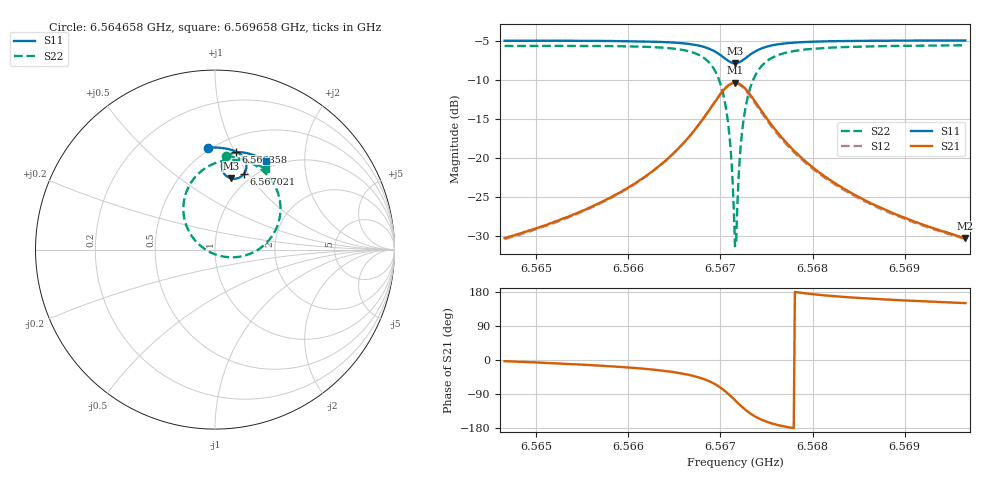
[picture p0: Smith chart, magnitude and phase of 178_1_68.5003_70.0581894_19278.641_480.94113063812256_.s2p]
#  HZ  S  RI  R  50.00
! Rohde & Schwarz Vector Network Analyzer
! Rohde-Schwarz,ZNB20-2Port,1311601062101988,3.16
! Created: UTC 3/20/2024, 5:11:43 PM
! freq[Hz]  re:S11  im:S11  re:S21  im:S21  re:S12  im:S12  re:S22  im:S22
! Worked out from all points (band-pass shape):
!   401 points, 6.564658 GHz to 6.569658 GHz, reference 50 ohm
!   highest |S21| = -10.32 dB at 6.567158 GHz (marker M1); lowest = -30.3 dB at 6.569658 GHz (marker M2)
!   |S21| within 3 dB of the highest: 6.56691 GHz to 6.56741 GHz (499.9 kHz wide, 0.00761 % of centre)
!   lowest |S11| = -7.8 dB at 6.567158 GHz (marker M3), VSWR 2.37, Z = 42.5 + j40.3 ohm
!   |S11| at or under -10 dB: nowhere
!   |S22| runs from -31.4 to -5.5 dB; largest |S21 - S12| = 0.015
!   S11 on the Smith chart (normalised r, x): 6.564658 GHz: 0.48, +0.81; 6.566358 GHz: 0.64, +1.01; 6.567021 GHz: 0.90, +0.95; 6.569658 GHz: 0.89, +1.31
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6.5646584e9  -0.0396 0.5676  0.0304 -0.00161  0.03 -0.00213  0.0617 0.5225
6.5654959e9  0.0303 0.5669  0.0443 -0.00966  0.0438 -0.0102  0.1446 0.5059
6.5663334e9  0.1118 0.5478  0.0788 -0.0403  0.0777 -0.0412  0.2647 0.4416
6.5663584e9  0.1147 0.5465  0.0806 -0.0423  0.0794 -0.0433  0.2697 0.4373
6.5666209e9  0.1469 0.5253  0.1024 -0.078  0.1006 -0.0795  0.3273 0.3672
6.5668209e9  0.1706 0.49  0.1156 -0.1397  0.1129 -0.1427  0.3643 0.2481
6.5669334e9  0.1744 0.4549  0.1038 -0.2011  0.0985 -0.2052  0.347 0.1309
6.5670209e9  0.1601 0.4208  0.0624 -0.2594  0.0531 -0.2629  0.2705 0.0221
6.5670584e9  0.1464 0.4077  0.0307 -0.2809  0.0195 -0.283  0.2117 -0.0163
6.5670959e9  0.1282 0.3981  -0.0092 -0.2954  -0.022 -0.2949  0.138 -0.0396
6.5671209e9  0.114 0.3949  -0.039 -0.2989  -0.0525 -0.296  0.0838 -0.0429
6.5671459e9  0.099 0.395  -0.07 -0.2964  -0.0835 -0.291  0.0287 -0.0352
6.5671584e9  0.0915 0.3962  -0.0851 -0.2928  -0.0984 -0.2863  0.00177 -0.0269
6.5671834e9  0.0774 0.4011  -0.1143 -0.2812  -0.1264 -0.2724  -0.0483 -0.00264
6.5672209e9  0.0592 0.4137  -0.1513 -0.2547  -0.1608 -0.2432  -0.1096 0.0494
6.5672584e9  0.0466 0.4303  -0.1776 -0.2211  -0.1839 -0.2085  -0.1504 0.1121
6.5673084e9  0.039 0.4542  -0.1958 -0.1743  -0.1982 -0.1619  -0.1746 0.1964
6.5673709e9  0.0406 0.4809  -0.1981 -0.1226  -0.1973 -0.1121  -0.1697 0.2866
6.5675959e9  0.08 0.5299  -0.1496 -0.0264  -0.146 -0.0219  -0.063 0.4477
6.5679959e9  0.1409 0.5422  -0.087 0.00945  -0.0848 0.011  0.0746 0.4987
6.5688334e9  0.2225 0.5237  -0.0422 0.016  -0.0411 0.0163  0.2066 0.4833
6.5696583e9  0.285 0.4946  -0.0264 0.0151  -0.0258 0.0152  0.2829 0.4499
